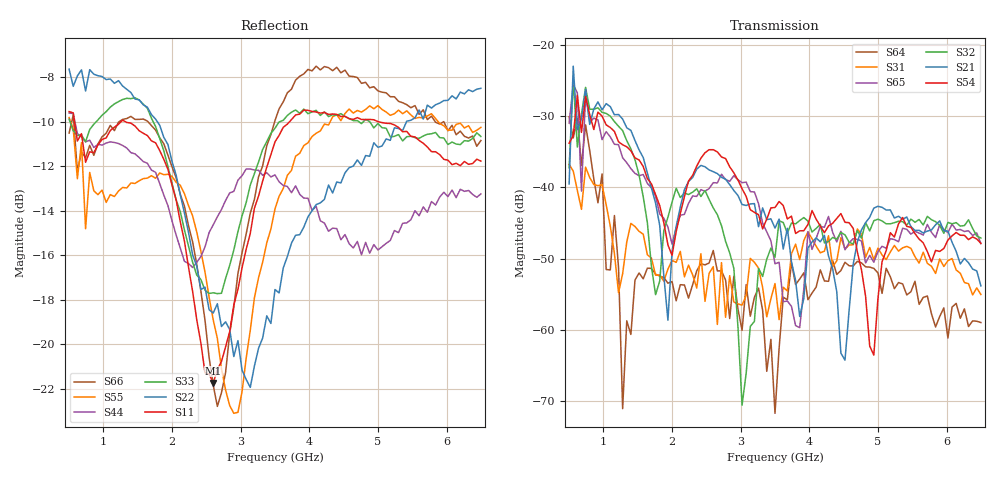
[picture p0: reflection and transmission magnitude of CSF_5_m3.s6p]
!Keysight Technologies,M9804A,MY58100912,A.14.10.03
!Date: Thursday, April 27, 2023 10:28:33
!Correction: S11(C  6-Port  )
!S12(C  6-Port  )
!S13(C  6-Port  )
!S14(C  6-Port  )
!S15(C  6-Port  )
!S16(C  6-Port  )
!S21(C  6-Port  )
!S22(C  6-Port  )
!S23(C  6-Port  )
!S24(C  6-Port  )
!S25(C  6-Port  )
!S26(C  6-Port  )
!S31(C  6-Port  )
!S32(C  6-Port  )
!S33(C  6-Port  )
!S34(C  6-Port  )
!S35(C  6-Port  )
!S36(C  6-Port  )
!S41(C  6-Port  )
!S42(C  6-Port  )
!S43(C  6-Port  )
!S44(C  6-Port  )
!S45(C  6-Port  )
!S46(C  6-Port  )
!S51(C  6-Port  )
!S52(C  6-Port  )
!S53(C  6-Port  )
!S54(C  6-Port  )
!S55(C  6-Port  )
!S56(C  6-Port  )
!S61(C  6-Port  )
!S62(C  6-Port  )
!S63(C  6-Port  )
!S64(C  6-Port  )
!S65(C  6-Port  )
!S66(C  6-Port  )
!S6P File: Measurement: :
# Hz S  RI  R 50
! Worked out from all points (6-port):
!   101 points, 500 MHz to 6.5 GHz, reference 50 ohm
!   strongest paths, dB at 500 MHz, 2 GHz, 3.5 GHz, 5 GHz, 6.5 GHz:
!     S54: -33.8, -49.5, -42.8, -55.6, -47.9
!     S21: -39.5, -49.0, -45.7, -42.7, -53.8
!     S32: -37.2, -42.1, -49.8, -44.5, -47.1
!     S65: -31.0, -48.0, -50.7, -49.0, -47.9
!     S31: -36.8, -50.3, -53.5, -48.5, -55.0
!     S64: -30.1, -53.2, -71.7, -52.0, -59.0
!   lowest |S11| = -21.7 dB at 2.6 GHz (marker M1), VSWR 1.18, Z = 42.7 + j2 ohm
!   |S11| at or under -10 dB: 578.5 MHz to 1.259 GHz (680.3 MHz wide, 74.1 % of centre); 1.317 GHz to 3.714 GHz (2.396 GHz wide, 95.3 % of centre); 4.999 GHz to end of sweep
